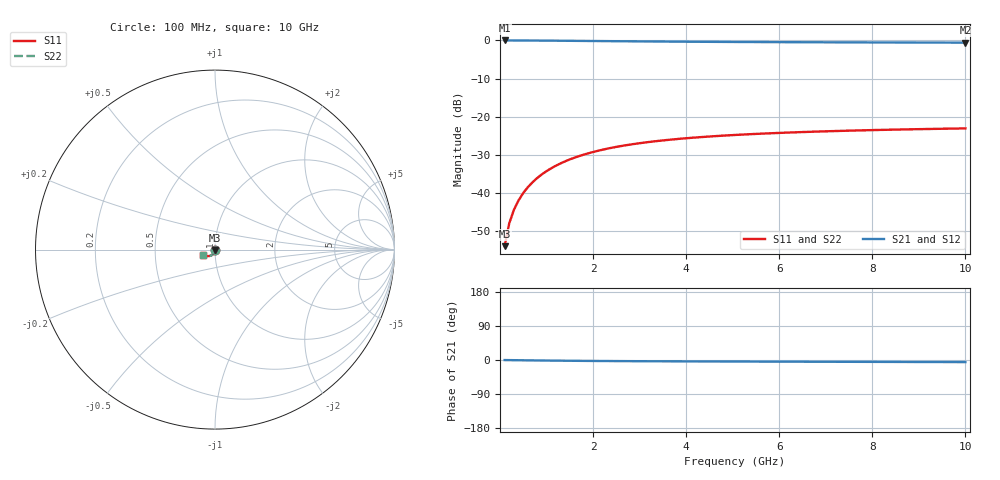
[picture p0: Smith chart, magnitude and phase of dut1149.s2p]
! Touchstone file exported from HFSS 2024.1.0
!  File:  C:/UserFiles/LocalFiles/RDL_TSV_Batchsim/temp_TSV1_1149_1780071855.aedt
!  Generated:  12:28:58 AM May 30, 2026
!  Design:  TSV1
!  Project:  temp_TSV1_1149_1780071855
!  Setup:  Setup1
!  Solution:  Sweep
! Variables:
!  dtsv = 14.96um
!  hbump = 3um
!  htsv = 82.51um
!  lrdl = 252.1521522um
!  p = 40
!  p1 = 47.69um
!  t = 500um
!  trdl = 3um
!  wrdl = 24.89489489um
# GHz S MA R 50.000000
! Terminal data exported
! Port[1] = TSV22_T1
! Port[2] = TSV22_T2
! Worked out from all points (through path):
!   100 points, 100 MHz to 10 GHz, reference 50 ohm
!   highest |S21| = 0.00 dB at 100 MHz (marker M1); lowest = -0.6 dB at 10 GHz (marker M2)
!   lowest |S11| = -54.0 dB at 100 MHz (marker M3), VSWR 1.00, Z = 50 - j0.2 ohm
!   |S11| at or under -10 dB: start of sweep to end of sweep
!   |S22| runs from -54.0 to -23.1 dB; largest |S21 - S12| = 6.4e-15
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0.1  0.002003 -89.3  0.9999 -0.2  0.9999 -0.2  0.002003 -89.3
! Gamma 0 0 0 0
! Port Impedance 50 0 50 0
0.2  0.004006 -92.0  0.9997 -0.3  0.9997 -0.3  0.004006 -92.0
0.3  0.006008 -93.9  0.9993 -0.5  0.9993 -0.5  0.006008 -93.9
0.4  0.007996 -95.8  0.9989 -0.6  0.9989 -0.6  0.007996 -95.8
0.5  0.009964 -97.6  0.9984 -0.8  0.9984 -0.8  0.009964 -97.6
0.6  0.0119 -99.3  0.9978 -0.9  0.9978 -0.9  0.0119 -99.3
0.7  0.01381 -101.0  0.9971 -1.0  0.9971 -1.0  0.01381 -101.0
0.8  0.01568 -102.6  0.9963 -1.2  0.9963 -1.2  0.01568 -102.6
0.9  0.01751 -104.2  0.9954 -1.3  0.9954 -1.3  0.01751 -104.2
1.1  0.02103 -107.3  0.9935 -1.6  0.9935 -1.6  0.02103 -107.3
1.4  0.02595 -111.6  0.9903 -1.9  0.9903 -1.9  0.02595 -111.6
1.6  0.02898 -114.3  0.988 -2.1  0.988 -2.1  0.02898 -114.3
1.8  0.03179 -116.9  0.9857 -2.3  0.9857 -2.3  0.03179 -116.9
2.1  0.03565 -120.4  0.9821 -2.6  0.9821 -2.6  0.03565 -120.4
2.5  0.04015 -124.6  0.9775 -2.9  0.9775 -2.9  0.04015 -124.6
2.9  0.04402 -128.2  0.9731 -3.1  0.9731 -3.1  0.04402 -128.2
3.4  0.0481 -132.2  0.9682 -3.4  0.9682 -3.4  0.0481 -132.2
4.2  0.05332 -137.4  0.9613 -3.7  0.9613 -3.7  0.05332 -137.4
5.1  0.0578 -141.9  0.9551 -4.1  0.9551 -4.1  0.0578 -141.9
6.7  0.06347 -148.0  0.9469 -4.6  0.9469 -4.6  0.06347 -148.0
8.4  0.06752 -152.7  0.9407 -5.1  0.9407 -5.1  0.06752 -152.7
10  0.0702 -156.0  0.9366 -5.5  0.9366 -5.5  0.0702 -156.0
